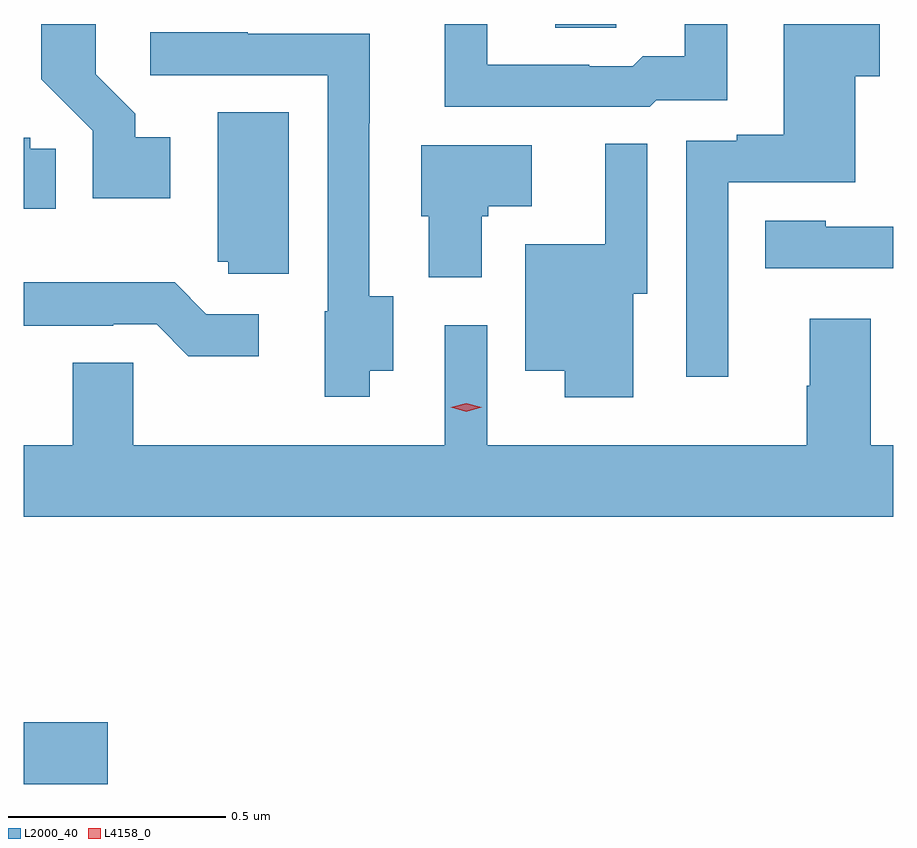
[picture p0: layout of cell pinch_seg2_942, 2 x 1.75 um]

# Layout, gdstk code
import gdstk
lib = gdstk.Library(unit=1e-6, precision=1e-09)
def R(c, l, rs):  # rectangles x0, y0, x1, y1
    for r in rs: c.add(gdstk.rectangle(r[:2], r[2:], *l))
def P(c, l, *ps):  # polygons
    for p in ps: c.add(gdstk.Polygon(p, *l))
L2000_40 = (2000, 40)
L4158_0 = (4158, 0)

pinch_seg2_942 = lib.new_cell('pinch_seg2_942')
R(pinch_seg2_942, L2000_40, [(593.778,631.037,593.971,631.179), (595.001,632.776,595.141,632.785)])
P(pinch_seg2_942, L2000_40, [(594.115,632.524),(594.034,632.524),(594.034,632.579),(593.944,632.669),(593.944,632.785),(593.818,632.785),(593.818,632.658),(593.937,632.539),(593.937,632.384),(594.115,632.384)],
  [(595.398,632.421),(595.69,632.421),(595.69,632.665),(595.747,632.665),(595.747,632.785),(595.526,632.785),(595.526,632.53),(595.418,632.53),(595.418,632.517),(595.302,632.517),(595.302,631.974),(595.398,631.974)],
  [(595.233,632.61),(595.396,632.61),(595.396,632.785),(595.298,632.785),(595.298,632.711),(595.202,632.711),(595.179,632.688),(595.079,632.688),(595.079,632.691),(594.844,632.691),(594.844,632.785),(594.746,632.785),(594.746,632.595),(595.218,632.595)],
  [(594.574,631.988),(594.628,631.988),(594.628,632.159),(594.573,632.159),(594.573,632.557),(594.574,632.557),(594.574,632.763),(594.293,632.763),(594.293,632.766),(594.069,632.766),(594.069,632.667),(594.477,632.667),(594.477,632.124),(594.47,632.124),(594.47,631.928),(594.574,631.928)],
  [(594.388,632.582),(594.224,632.582),(594.224,632.238),(594.249,632.238),(594.249,632.211),(594.388,632.211)],
  [(593.852,632.498),(593.793,632.498),(593.793,632.523),(593.778,632.523),(593.778,632.36),(593.852,632.36)],
  [(595.18,632.165),(595.212,632.165),(595.212,632.51),(595.115,632.51),(595.115,632.278),(594.932,632.278),(594.932,631.988),(595.022,631.988),(595.022,631.926),(595.18,631.926)],
  [(594.832,632.343),(594.846,632.343),(594.846,632.366),(594.946,632.366),(594.946,632.506),(594.692,632.506),(594.692,632.343),(594.71,632.343),(594.71,632.202),(594.832,632.202)],
  [(595.778,632.319),(595.623,632.319),(595.623,632.332),(595.483,632.332),(595.483,632.223),(595.778,632.223)],
  [(594.319,632.118),(594.198,632.118),(594.125,632.191),(593.778,632.191),(593.778,632.091),(593.984,632.091),(593.984,632.094),(594.084,632.094),(594.157,632.021),(594.319,632.021)],
  [(595.778,631.816),(595.726,631.816),(595.726,632.107),(595.586,632.107),(595.586,631.953),(595.579,631.953),(595.579,631.816),(594.844,631.816),(594.844,632.092),(594.746,632.092),(594.746,631.816),(594.03,631.816),(594.03,632.006),(593.891,632.006),(593.891,631.816),(593.778,631.816),(593.778,631.652),(595.778,631.652)])
P(pinch_seg2_942, L4158_0, [(594.796,631.893),(594.76,631.903),(594.76,631.903),(594.76,631.903),(594.796,631.913),(594.831,631.903),(594.831,631.903),(594.831,631.903)])

lib.write_gds('pinch_seg2_942.gds')
